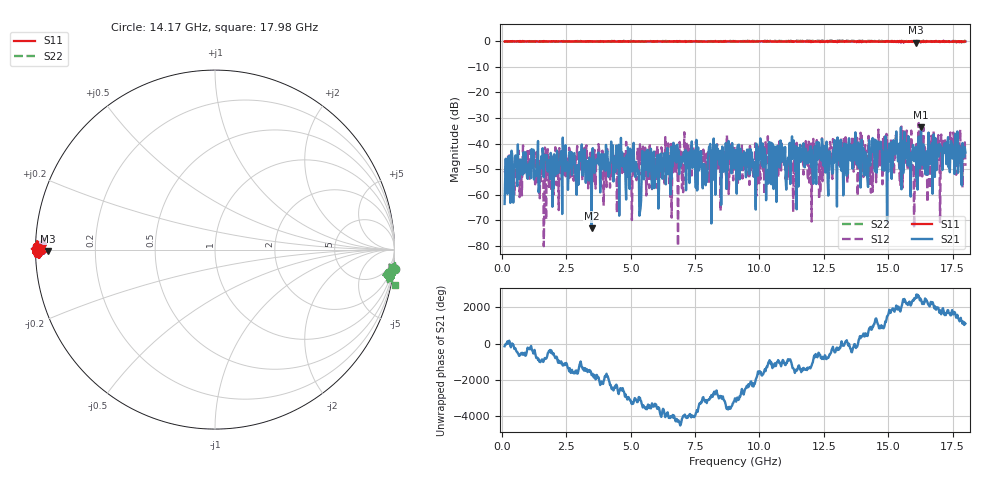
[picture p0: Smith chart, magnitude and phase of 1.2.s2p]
!Keysight Technologies N9917A: A.08.15
!Date: Friday, 29 September 2017 09:06:16
!Timezone: (GMT-08:00) Pacific Time (US & Canada)
!Model: N9917A
!Serial: MY53102735
!GPS Latitude:
!GPS Longitude:
!GPS TimeStamp: 0001-01-01 00:00:00Z
!GPS Seconds Since Last Read: 0
!CHECKSUM:0107823900
!Correction: S11(ON U)S21(ON U)S12(ON U)S22(ON U)
!S2P File: Measurements:S11,S21,S12,S22:
# Hz S RI R 50
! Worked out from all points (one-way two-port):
!   801 points, 100 MHz to 18 GHz, reference 50 ohm
!   highest |S21| = -33.61 dB at 16.28 GHz (marker M1); lowest = -73.0 dB at 3.479 GHz (marker M2)
!   lowest |S11| = -0.6 dB at 16.08 GHz (marker M3), VSWR 28.86, Z = 1.73 - j0.217 ohm
!   |S11| at or under -10 dB: nowhere
!   |S22| runs from -0.5 to 0.3 dB; largest |S21 - S12| = 0.032
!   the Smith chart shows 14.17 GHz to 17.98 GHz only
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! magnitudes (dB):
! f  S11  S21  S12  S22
! 100 MHz  -0.1  -63.6  -50.6  0.1
! 323.8 MHz  0.0  -63.1  -55.0  -0.2
! 1.017 GHz  -0.1  -48.1  -48.3  -0.1
! 1.554 GHz  0.0  -49.7  -48.0  -0.1
! 3.098 GHz  -0.2  -40.3  -48.3  0.0
! 3.479 GHz  -0.2  -73.0  -46.4  -0.1
! 4.911 GHz  0.0  -43.1  -41.4  0.0
! 5.067 GHz  -0.1  -47.9  -53.5  -0.1
! 5.336 GHz  -0.1  -68.2  -52.4  0.0
! 5.627 GHz  -0.2  -48.4  -49.6  -0.1
! 6.074 GHz  -0.1  -65.4  -55.9  0.0
! 6.745 GHz  -0.1  -41.0  -49.5  0.0
! 7.864 GHz  -0.2  -48.0  -43.8  -0.2
! 9.05 GHz  0.0  -42.5  -46.6  0.1
! 12.05 GHz  -0.1  -46.9  -40.9  0.0
! 13.53 GHz  -0.1  -40.7  -46.5  0.0
! 14.15 GHz  -0.3  -45.9  -45.3  -0.1
! 14.35 GHz  -0.2  -43.4  -42.4  0.1
! 15.02 GHz  -0.2  -43.5  -39.3  -0.1
! 16.08 GHz  -0.6  -41.3  -41.1  -0.3
! 16.28 GHz  -0.4  -33.6  -41.7  -0.1
! 18 GHz  -0.1  -43.5  -48.7  0.2
